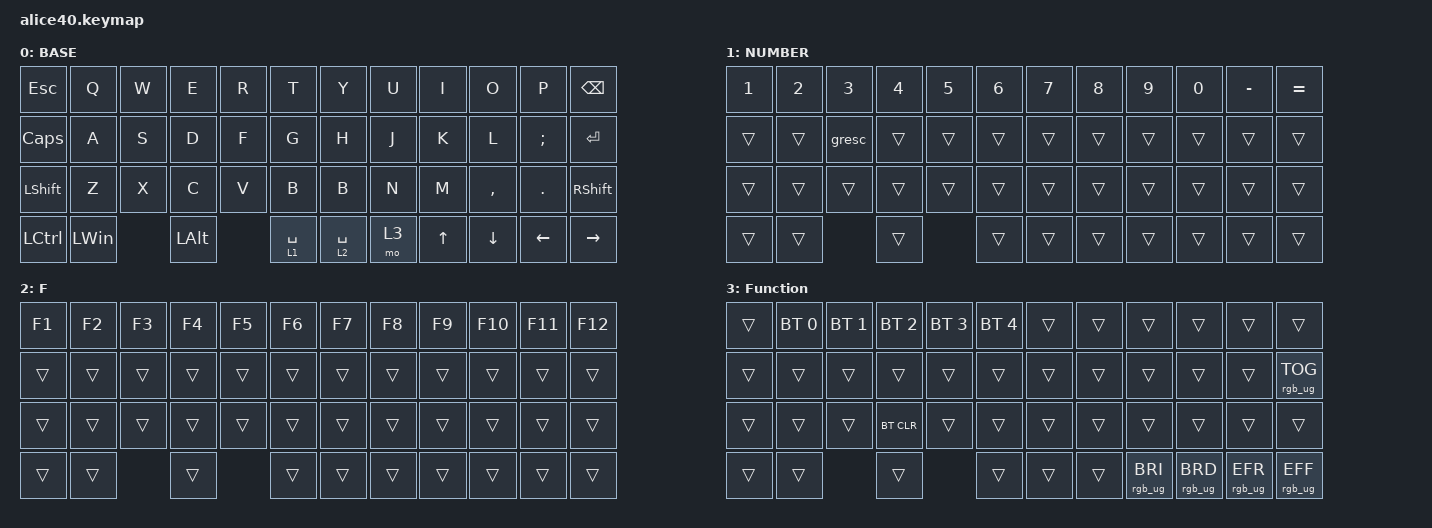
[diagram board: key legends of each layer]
#include <behaviors.dtsi>
#include <dt-bindings/zmk/bt.h>
#include <dt-bindings/zmk/keys.h>
#include <dt-bindings/zmk/rgb.h>

/ {
    combos {
        compatible = "zmk,combos";

        A1 {
            bindings = <&none>;
            key-positions = <3 5 19 21>;
        };
    };

    macros {
        new_macro: new_macro {
            compatible = "zmk,behavior-macro";
            #binding-cells = <0>;
            bindings = <&none>, <&macro_press>;

            label = "NEW_MACRO";
        };
    };

    behaviors {
        new_behavior: new_behavior {
            compatible = "zmk,behavior-tap-dance";
            label = "NEW_BEHAVIOR";
            #binding-cells = <0>;
            bindings = <&kp G>, <&kp G>, <&none>;
        };
    };

    keymap {
        compatible = "zmk,keymap";

        Base_layer {
            label = "BASE";
            bindings = <
&kp ESC       &kp Q         &kp W  &kp E         &kp R  &kp T        &kp Y        &kp U  &kp I   &kp O      &kp P          &kp BACKSPACE
&kp CAPSLOCK  &kp A         &kp S  &kp D         &kp F  &kp G        &kp H        &kp J  &kp K   &kp L      &kp SEMICOLON  &kp ENTER
&kp LSHIFT    &kp Z         &kp X  &kp C         &kp V  &kp B        &kp B        &kp N  &kp M   &kp COMMA  &kp DOT        &kp RSHIFT
&kp LCTRL     &kp LEFT_WIN         &kp LEFT_ALT         &lt 1 SPACE  &lt 2 SPACE  &mo 3  &kp UP  &kp DOWN   &kp LEFT       &kp RIGHT
            >;
        };

        Number_layer {
            bindings = <
&kp N1  &kp N2  &kp N3  &kp N4  &kp N5  &kp N6  &kp N7  &kp N8  &kp N9  &kp N0  &kp MINUS  &kp EQUAL
&trans  &trans  &gresc  &trans  &trans  &trans  &trans  &trans  &trans  &trans  &trans     &trans
&trans  &trans  &trans  &trans  &trans  &trans  &trans  &trans  &trans  &trans  &trans     &trans
&trans  &trans          &trans          &trans  &trans  &trans  &trans  &trans  &trans     &trans
            >;

            label = "NUMBER";
        };

        F_layer {
            bindings = <
&kp F1  &kp F2  &kp F3  &kp F4  &kp F5  &kp F6  &kp F7  &kp F8  &kp F9  &kp F10  &kp F11  &kp F12
&trans  &trans  &trans  &trans  &trans  &trans  &trans  &trans  &trans  &trans   &trans   &trans
&trans  &trans  &trans  &trans  &trans  &trans  &trans  &trans  &trans  &trans   &trans   &trans
&trans  &trans          &trans          &trans  &trans  &trans  &trans  &trans   &trans   &trans
            >;

            label = "F";
        };

        Function_layer {
            bindings = <
&trans  &bt BT_SEL 0  &bt BT_SEL 1  &bt BT_SEL 2  &bt BT_SEL 3  &bt BT_SEL 4  &trans  &trans  &trans           &trans           &trans           &trans
&trans  &trans        &trans        &trans        &trans        &trans        &trans  &trans  &trans           &trans           &trans           &rgb_ug RGB_TOG
&trans  &trans        &trans        &bt BT_CLR    &trans        &trans        &trans  &trans  &trans           &trans           &trans           &trans
&trans  &trans                      &trans                      &trans        &trans  &trans  &rgb_ug RGB_BRI  &rgb_ug RGB_BRD  &rgb_ug RGB_EFR  &rgb_ug RGB_EFF
            >;

            label = "Function";
        };
    };
};
